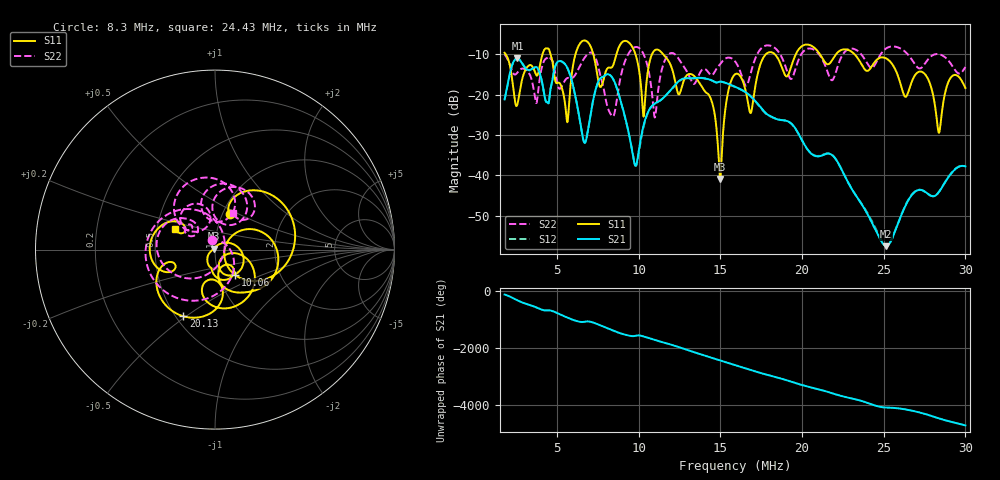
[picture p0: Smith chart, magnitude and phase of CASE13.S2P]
!Agilent Technologies,E5061B,MY49101568,A.02.00
!Date: Wed Mar 01 15:32:24 2023
!Data & Calibration Information:
!Freq	S11:SOLT2(OFF)	S21:SOLT2(OFF)	S12:SOLT2(OFF)	S22:SOLT2(OFF)
# Hz S dB R 50
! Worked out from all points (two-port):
!   1155 points, 1.8 MHz to 30 MHz, reference 50 ohm
!   highest |S21| = -11.05 dB at 2.582 MHz (marker M1); lowest = -57.6 dB at 25.16 MHz (marker M2)
!   |S21| within 3 dB of the highest: 2.163 MHz to 3.893 MHz (1.73 MHz wide, 57.1 % of centre); 4.826 MHz to 5.711 MHz (884.7 kHz wide, 16.8 % of centre)
!   lowest |S11| = -40.9 dB at 15 MHz (marker M3), VSWR 1.02, Z = 49.3 + j0.571 ohm
!   |S11| at or under -10 dB: 1.863 MHz to 4.12 MHz (2.257 MHz wide, 75.4 % of centre); 11.5 MHz to 17.79 MHz (6.291 MHz wide, 43 % of centre); 23.21 MHz to end of sweep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
!   |S22| runs from -25.7 to -7.8 dB; largest |S21 - S12| = 0.0062
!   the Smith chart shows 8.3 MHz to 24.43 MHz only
!   S11 on the Smith chart (normalised r, x): 8.3 MHz: 1.09, +0.45; 10.06 MHz: 1.20, -0.35; 20.13 MHz: 0.55, -0.49; 24.43 MHz: 0.62, +0.15
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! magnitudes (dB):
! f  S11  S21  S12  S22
! 1.8 MHz  -9.7  -21.2  -21.2  -10.0
! 2.582 MHz  -22.5  -11.1  -11.0  -14.6
! 3.731 MHz  -15.1  -13.2  -13.2  -22.1
! 4.39 MHz  -8.6  -21.9  -21.9  -11.0
! 5.637 MHz  -26.9  -13.4  -13.4  -15.9
! 6.516 MHz  -6.9  -29.1  -29.2  -12.1
! 8.3 MHz  -13.4  -15.4  -15.3  -24.9
! 10.06 MHz  -14.8  -32.7  -33.3  -8.5
! 10.33 MHz  -25.1  -27.3  -27.6  -10.2
! 11.21 MHz  -8.9  -21.8  -21.7  -18.6
! 14.34 MHz  -20.3  -16.3  -16.3  -14.9
! 15 MHz  -40.9  -16.8  -16.8  -12.4
! 15.9 MHz  -15.0  -18.1  -18.1  -11.8
! 16.85 MHz  -24.6  -20.4  -20.4  -14.9
! 17.73 MHz  -10.3  -24.4  -24.6  -7.9
! 20.13 MHz  -7.7  -32.3  -32.3  -9.1
! 20.62 MHz  -8.0  -34.8  -34.8  -8.7
! 24.43 MHz  -12.1  -53.0  -52.6  -12.8
! 25.16 MHz  -11.1  -57.6  -57.5  -8.5
! 25.31 MHz  -11.5  -57.2  -57.2  -8.2
! 28.36 MHz  -29.4  -44.3  -44.2  -10.0
! 30 MHz  -18.4  -37.8  -37.8  -13.2
